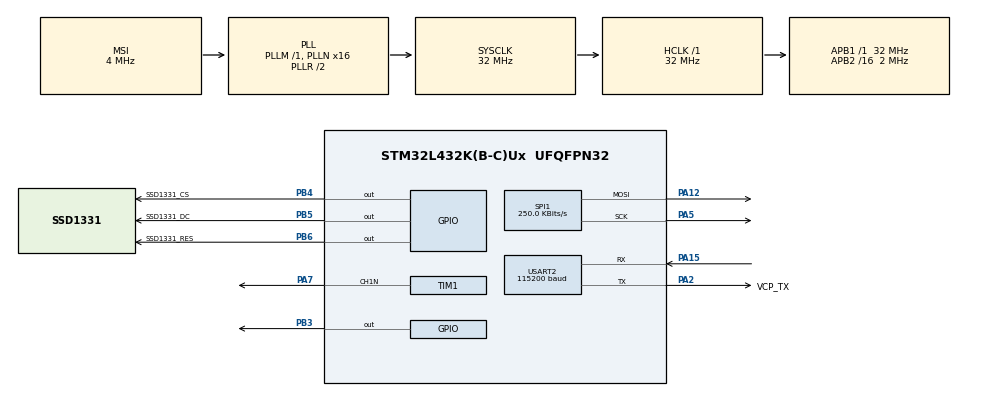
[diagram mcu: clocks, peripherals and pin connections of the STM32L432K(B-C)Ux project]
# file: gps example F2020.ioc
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Mcu.Family=STM32L4
Mcu.Name=STM32L432K(B-C)Ux
Mcu.Package=UFQFPN32
NVIC.PriorityGroup=NVIC_PRIORITYGROUP_4
NVIC.USART2_IRQn=true\:0\:0\:false\:false\:true\:true\:true\:true
PA12.Mode=TX_Only_Simplex_Unidirect_Master
PA12.Signal=SPI1_MOSI
PA15\ (JTDI).Mode=Asynchronous
PA15\ (JTDI).Signal=USART2_RX
PA2.GPIO_Label=VCP_TX
PA2.Mode=Asynchronous
PA2.Signal=USART2_TX
PA5.Mode=TX_Only_Simplex_Unidirect_Master
PA5.Signal=SPI1_SCK
PA7.Mode=PWM Generation1 CH1N
PA7.Signal=TIM1_CH1N
PB3\ (JTDO-TRACESWO).Signal=GPIO_Output
PB4\ (NJTRST).GPIO_Label=SSD1331_CS
PB4\ (NJTRST).Signal=GPIO_Output
PB5.GPIO_Label=SSD1331_DC
PB5.Signal=GPIO_Output
PB6.GPIO_Label=SSD1331_RES
PB6.Signal=GPIO_Output
PC14-OSC32_IN\ (PC14).Mode=LSE-External-Oscillator
PC14-OSC32_IN\ (PC14).Signal=RCC_OSC32_IN
PC15-OSC32_OUT\ (PC15).Mode=LSE-External-Oscillator
PC15-OSC32_OUT\ (PC15).Signal=RCC_OSC32_OUT
ProjectManager.HeapSize=0x200
ProjectManager.StackSize=0x400
ProjectManager.TargetToolchain=STM32CubeIDE
RCC.ADCFreq_Value=32000000
RCC.AHBFreq_Value=32000000
RCC.APB1Freq_Value=32000000
RCC.APB1TimFreq_Value=32000000
RCC.APB2CLKDivider=RCC_HCLK_DIV16
RCC.APB2Freq_Value=2000000
RCC.APB2TimFreq_Value=4000000
RCC.CortexFreq_Value=32000000
RCC.HCLKFreq_Value=32000000
RCC.HSE_VALUE=8000000
RCC.HSI16_VALUE=16000000
RCC.HSI48_VALUE=48000000
RCC.HSI_VALUE=16000000
RCC.MSI_VALUE=4000000
RCC.PLLMUL=RCC_PLLMUL_4
RCC.PLLN=16
RCC.PLLSAI1N=16
RCC.SYSCLKFreq_VALUE=32000000
RCC.SYSCLKSource=RCC_SYSCLKSOURCE_PLLCLK
RCC.USBFreq_Value=32000000
RCC.VCOOutputFreq_Value=64000000
SPI1.BaudRatePrescaler=SPI_BAUDRATEPRESCALER_8
SPI1.CRCCalculation=SPI_CRCCALCULATION_DISABLE
SPI1.CalculateBaudRate=250.0 KBits/s
SPI1.DataSize=SPI_DATASIZE_8BIT
SPI1.Direction=SPI_DIRECTION_2LINES
SPI1.Mode=SPI_MODE_MASTER
SPI1.VirtualType=VM_MASTER
TIM1.Channel-PWM\ Generation1\ CH1N=TIM_CHANNEL_1
TIM1.Period=9090
TIM1.Pulse-PWM\ Generation1\ CH1N=4045
USART2.BaudRate=115200
USART2.DMADisableonRxErrorParam=ADVFEATURE_DMA_ENABLEONRXERROR
USART2.VirtualMode-Asynchronous=VM_ASYNC
USART2.WordLength=WORDLENGTH_8B
board=NUCLEO-L432KC

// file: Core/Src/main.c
/* USER CODE BEGIN Header */
/*******************************************************************************
 * FILE               : main.c
 * PROJECT			  : PROG8126 - #Assignment 5
 * PROGRAMMER		  : Vivek Solanki (8925804)
 * First Version	  : 08/12/2023
 * Description        : This File contains all the required function to full fill the
 * 						requirement of Assignment 5, which should read the GPS data string from serial
 * 						and parse that and converts that into appropriate data type using
 * 						atoi(), atof(), strtoul()
 *
 *	ABOVE AND BEYOND  : (1) To read data from serial i Used UART interrupt instead of timeout
 *						(2) Printed all data on OLED
 *						(3) Enabvled countinuous horizontal scrolling for heading of Assignment.
 *
 *  ******************************************************************************
 */
/* USER CODE END Header */
#include "main.h"

/* USER CODE BEGIN Includes */
#include <stdio.h>
#include <stdlib.h>
#include <string.h>
#include "debounce.h"
#include "ssd1331.h"

/* USER CODE END Includes */

/* USER CODE BEGIN PD */
#define REC_BUFFER_SIZE 						100
#define TEMP_BUFFER_SIZE 						5

/* USER CODE END PD */

SPI_HandleTypeDef hspi1;

TIM_HandleTypeDef htim1;

UART_HandleTypeDef huart2;

/* USER CODE BEGIN PV */
typedef enum
{
	GPS_DATA_UTC_TIME,
	GPS_DATA_LATITUDE,
	GPS_DATA_LATITUDE_DIRECTION,
	GPS_DATA_LONGITUDE,
	GPS_DATA_LONGITUDE_DIRECTION,
	GPS_DATA_POSITION,
	GPS_DATA_SATELITE_NUMBER,
	GPS_DATA_HDOP,
	GPS_DATA_ALTITUDE,
	GPS_DATA_ALTITUDE_UNIT,
	GPS_DATA_GEOID_SEPARATION,
	GPS_DATA_GEOID_SEPARATION_UNIT,
	GPS_DATA_DGPS,
	GPS_DATA_CHECKSUM,
	GPS_DATA_MAX
} gpsData_e;

typedef struct
{
	uint8_t hour;
	uint8_t minute;
	uint8_t second;
	uint8_t second2;
} dateTime_t;

typedef struct
{
	uint8_t 	degree;
	uint8_t		minute;
	uint16_t 	decimalDegree;
	char 		latiTudeDirection;
} latiTude_t;

typedef struct
{
	uint16_t 	degree;
	uint8_t 	minute;
	uint16_t 	decimalDegree;
	char 		longiTudeDirection;
} longiTude_t;

typedef struct
{
	dateTime_t 	utcTime;
	latiTude_t 	latiTude;
	longiTude_t longiTude;
	uint8_t 	position;
	uint8_t 	sateliteNumber;
	float 		hdop;
	float 		altitude;
	char 		altitudeUnit;
	char 		geoidSeparation;
	char 		geoidSeparationUnit;
	uint16_t 	dgps;
	long 		checkSum;
} gpsData_t;

char *info = "Ready to Receive GPS string\r\n"; // Prints this on console at start of the program.

/* recChar will hold a single char received on the serial port*/
char recChar = 0;
/* recBuffer will have characters that are received on the serial
 * port copied into it*/

static char recBuffer[REC_BUFFER_SIZE] = { 0 }; //static so that the previous
//values of recBuffer aren't reset each
//time we get here

/* recBufferIndex is used to keep track of where we are in recBuffer.  */
static int8_t recBufferIndex = 0;		//and again static so we don't reset our
//value each time we get here

static int8_t sentenceReceived = 0;	//flag that indicates a complete sentence has
//been received. static for the same reasons
//above

//enumerated values for use
// with if (pbPressed==value)
//type conditional statements

/* USER CODE END PV */

void SystemClock_Config(void);
static void MX_GPIO_Init(void);
static void MX_TIM1_Init(void);
static void MX_USART2_UART_Init(void);
static void MX_SPI1_Init(void);
/* USER CODE BEGIN PFP */
/*
 * 	This is the callback function that gets called when a receive is complete.
 */
void HAL_UART_RxCpltCallback(UART_HandleTypeDef *huart)
{
	// write some code when reception is complete

	if (recChar == '$')	//STX! so let's start storing char in the recBuffer
	{
		recBufferIndex = 0;			//$ is the first char in a sentence.
		recBuffer[recBufferIndex] = recChar;	//so we've got to store it at the
		                                        //start of our recBuffer
		recBufferIndex++;			//and inc the index so the next char
		                            //is stored in the next position in
		                            //the buffer
	}
	else if (recBufferIndex > 0)		//then we're receiving the rest of the sentence
	{
		recBuffer[recBufferIndex] = recChar;	//so place the rec'd char in the buffer
		if (recBufferIndex < REC_BUFFER_SIZE)		//and increment the index as long as
		{						//we don't exceed the size of the buffer
			recBufferIndex++;
		}
		else
		{
			recBufferIndex = 0;	//if we're we've exceeded the size of our
			printf ("recBuffer Overflow\r\n");	//buffer so let's say so
		}
	}

	if (recChar == '\r' || recChar == '\n')	//if we get a cr then we know we're at the
	{									//end of our sentence
		recBuffer[recBufferIndex] = '\0';		//put a null instead of cr in the buffer
		                                        //'cause that's what strings need
		recBufferIndex = 0;					//and reset the buffer index
		sentenceReceived = 1;	//and set the flag 'cause we've got a
		                        //complete senetence now.
	}

	HAL_UART_Receive_IT (&huart2, (uint8_t*) &recChar, 1); // now call this function to receive next data.
}
/* USER CODE END PFP */

/*******************************************************************************
 * FUNCTION      : startUpLCDSplashScreen()
 * PARAMETERS    : None
 * RETURNS       : None
 * DESCRIPTION   : displays GPS Parcing on line 1 of the display and Disappears
 *
 *******************************************************************************
 */
void startUpLCDSplashScreen(void)
{
	char stringBuffer[16] = { 0 };
	ssd1331_clear_screen (BLACK);
	snprintf (stringBuffer, 16, "GPS Parsing");
	ssd1331_display_string (10, 0, stringBuffer, FONT_1206, GREEN);
	HAL_Delay (10);

	// This function is defined in ssd1331.c
	// It will rotate the heading of Assignmnet (GPS Parsing) countinuous on line 1
	EnableHorizontalCountinuousScroll (0, FONT_1206);
}

/*******************************************************************************
 * FUNCTION      : parseUSTTime()
 * PARAMETERS    : gpsData_t *gpsData, char *iUstTime
 * RETURNS       : None
 * DESCRIPTION   : This function parse UTS Time date from iUstTime and stores that
 * 				   data into main gpsData structure after converting that data into
 * 				   appropriate sata type
 *
 *******************************************************************************
 */
static void parseUSTTime(gpsData_t *gpsData, char *iUstTime)
{
	char tempStr[TEMP_BUFFER_SIZE];

	// Parse hour
	strncpy (tempStr, iUstTime, 2);
	gpsData->utcTime.hour = atoi (tempStr);

	// Parse minute
	strncpy (tempStr, iUstTime + 2, 2);
	gpsData->utcTime.minute = atoi (tempStr);

	// Parse second part 1
	strncpy (tempStr, iUstTime + 4, 2);
	gpsData->utcTime.second = atoi (tempStr);

	// Parse second part 2
	strncpy (tempStr, iUstTime + 7, 2);
	gpsData->utcTime.second2 = atoi (tempStr);
}

/*******************************************************************************
 * FUNCTION      : parseLatitude()
 * PARAMETERS    : gpsData_t *gpsData, char *iLatiTude
 * RETURNS       : None
 * DESCRIPTION   : This function parse latitude data from iLatiTude and stores that
 * 				data into main gpsData structure after converting that data into
 * 				appropriate sata type
 *  *******************************************************************************
 */
static void parseLatitude(gpsData_t *gpsData, char *iLatiTude)
{
	char tempStr[TEMP_BUFFER_SIZE];

	// Parse degrees
	strncpy (tempStr, iLatiTude, 2);
	gpsData->latiTude.degree = atoi (tempStr);

	// Parse minutes
	strncpy (tempStr, iLatiTude + 2, 2);
	gpsData->latiTude.minute = atoi (tempStr);

	// Parse decimal degrees
	strncpy (tempStr, iLatiTude + 5, 4);
	gpsData->latiTude.decimalDegree = atoi (tempStr);

}

/*******************************************************************************
 * FUNCTION      : parseLongitude()
 * PARAMETERS    : gpsData_t *gpsData, char *iLongiTude
 * RETURNS       : None
 * DESCRIPTION   : This function parse longitude data from iLongiTude and stores that
 *				   data into main gpsData structure after converting that data into
 * 				   appropriate sata type
 *
 *******************************************************************************
 */
static void parseLongitude(gpsData_t *gpsData, char *iLongiTude)
{
	char tempStr[TEMP_BUFFER_SIZE];

	// Parse degrees
	strncpy (tempStr, iLongiTude, 3);
	gpsData->longiTude.degree = atoi (tempStr);

	// Parse minutes
	strncpy (tempStr, iLongiTude + 3, 2);
	gpsData->longiTude.minute = atoi (tempStr);

	// Parse decimal degrees
	strncpy (tempStr, iLongiTude + 6, 4);
	gpsData->longiTude.decimalDegree = atoi (tempStr);
}

/*******************************************************************************
 * FUNCTION      : printDataOnOLED()
 * PARAMETERS    : gpsData_t gpsData
 * RETURNS       : None
 * DESCRIPTION   : This function prints data on OLED stored in gpsData
 *
 *******************************************************************************
 */
void printDataOnOLED(gpsData_t gpsData)
{
	uint8_t index = 1;
	char stringBuffer[25] = { 0 };

	//Display UTC time on OLED
	snprintf (stringBuffer, sizeof(stringBuffer), "UTC Hour = %d", gpsData.utcTime.hour);
	ssd1331_display_string (0, index + index * FONT_1206, stringBuffer, FONT_1206, WHITE);
	index++;
	snprintf (stringBuffer, sizeof(stringBuffer), "UTC Min. = %d",
	          gpsData.utcTime.minute);
	ssd1331_display_string (0, index + index * FONT_1206, stringBuffer, FONT_1206, WHITE);
	index++;
	snprintf (stringBuffer, sizeof(stringBuffer), "UTC Second = %d",
	          gpsData.utcTime.second);
	ssd1331_display_string (0, index + index * FONT_1206, stringBuffer, FONT_1206, WHITE);
	index++;
	snprintf (stringBuffer, sizeof(stringBuffer), "UTC mSec = %d",
	          gpsData.utcTime.second2);
	ssd1331_display_string (0, index + index * FONT_1206, stringBuffer, FONT_1206, WHITE);

	// Clear OLED
	ssd1331_clear_screen (BLACK);
	startUpLCDSplashScreen ();
	index = 1;

	//Display Latitude data on OLED
	snprintf (stringBuffer, sizeof(stringBuffer), "lat. deg. = %d",
	          gpsData.latiTude.degree);
	ssd1331_display_string (0, index + index * FONT_1206, stringBuffer, FONT_1206, WHITE);
	index++;
	snprintf (stringBuffer, sizeof(stringBuffer), "lat. Min. = %d",
	          gpsData.latiTude.minute);
	ssd1331_display_string (0, index + index * FONT_1206, stringBuffer, FONT_1206, WHITE);
	index++;
	snprintf (stringBuffer, sizeof(stringBuffer), "lat. Dd = %d",
	          gpsData.latiTude.decimalDegree);
	ssd1331_display_string (0, index + index * FONT_1206, stringBuffer, FONT_1206, WHITE);
	index++;
	snprintf (stringBuffer, sizeof(stringBuffer), "lat. Dire. = %c",
	          gpsData.latiTude.latiTudeDirection);
	ssd1331_display_string (0, index + index * FONT_1206, stringBuffer, FONT_1206, WHITE);

	// Clear OLED
	ssd1331_clear_screen (BLACK);
	startUpLCDSplashScreen ();
	index = 1;

	//Display Longitude data on OLED
	snprintf (stringBuffer, sizeof(stringBuffer), "long. deg. = %d",
	          gpsData.longiTude.degree);
	ssd1331_display_string (0, index + index * FONT_1206, stringBuffer, FONT_1206, WHITE);
	index++;
	snprintf (stringBuffer, sizeof(stringBuffer), "long. Min. = %d",
	          gpsData.longiTude.minute);
	ssd1331_display_string (0, index + index * FONT_1206, stringBuffer, FONT_1206, WHITE);
	index++;
	snprintf (stringBuffer, sizeof(stringBuffer), "long. Dd = %d",
	          gpsData.longiTude.decimalDegree);
	ssd1331_display_string (0, index + index * FONT_1206, stringBuffer, FONT_1206, WHITE);
	index++;
	snprintf (stringBuffer, sizeof(stringBuffer), "long. Dire. = %c",
	          gpsData.longiTude.longiTudeDirection);
	ssd1331_display_string (0, index + index * FONT_1206, stringBuffer, FONT_1206, WHITE);

	// Clear OLED
	ssd1331_clear_screen (BLACK);
	startUpLCDSplashScreen ();
	index = 1;

	//Display Position of Satelite
	snprintf (stringBuffer, sizeof(stringBuffer), "Positoin = %d", gpsData.position);
	ssd1331_display_string (0, index + index * FONT_1206, stringBuffer, FONT_1206, WHITE);
	index++;

	//Display Satelite Number
	snprintf (stringBuffer, sizeof(stringBuffer), "Sat. Num. = %d",
	          gpsData.sateliteNumber);
	ssd1331_display_string (0, index + index * FONT_1206, stringBuffer, FONT_1206, WHITE);
	index++;

	//Display HDOP
	snprintf (stringBuffer, sizeof(stringBuffer), "HDOP = %0.3f", gpsData.hdop);
	ssd1331_display_string (0, index + index * FONT_1206, stringBuffer, FONT_1206, WHITE);
	index++;

	//Display Altitude
	snprintf (stringBuffer, sizeof(stringBuffer), "Alt. = %0.3f", gpsData.altitude);
	ssd1331_display_string (0, index + index * FONT_1206, stringBuffer, FONT_1206, WHITE);
	index++;

	// Clear OLED
	ssd1331_clear_screen (BLACK);
	startUpLCDSplashScreen ();
	index = 1;

	//Display Altitude unit
	snprintf (stringBuffer, sizeof(stringBuffer), "Alt. Unit = %c", gpsData.altitudeUnit);
	ssd1331_display_string (0, index + index * FONT_1206, stringBuffer, FONT_1206, WHITE);
	index++;

	//Display Geopid Separation
	snprintf (stringBuffer, sizeof(stringBuffer), "Geoid Sep. = %c",
	          gpsData.geoidSeparation);
	ssd1331_display_string (0, index + index * FONT_1206, stringBuffer, FONT_1206, WHITE);
	index++;

	//Display Geopid Separation unit
	snprintf (stringBuffer, sizeof(stringBuffer), "G.Sep.Unit.= %c",
	          gpsData.geoidSeparationUnit);
	ssd1331_display_string (0, index + index * FONT_1206, stringBuffer, FONT_1206, WHITE);
	index++;

	// Clear OLED
	ssd1331_clear_screen (BLACK);
	startUpLCDSplashScreen ();
	index = 1;

	//Display DGPS Age
	snprintf (stringBuffer, sizeof(stringBuffer), "DGPS = %d", gpsData.dgps);
	ssd1331_display_string (0, index + index * FONT_1206, stringBuffer, FONT_1206, WHITE);
	index++;

	snprintf (stringBuffer, sizeof(stringBuffer), "Checksum = %ld", gpsData.checkSum);
	ssd1331_display_string (0, index + index * FONT_1206, stringBuffer, FONT_1206, WHITE);
	index++;
}

/* USER CODE END 0 */

int main(void)
{

	/* MCU Configuration--------------------------------------------------------*/

	/* Reset of all peripherals, Initializes the Flash interface and the Systick. */
	HAL_Init ();

	/* Configure the system clock */
	SystemClock_Config ();

	/* Initialize all configured peripherals */
	MX_GPIO_Init ();
	MX_TIM1_Init ();
	MX_USART2_UART_Init ();
	MX_SPI1_Init ();
	/* USER CODE BEGIN 2 */
	HAL_UART_Transmit_IT (&huart2, (uint8_t*) info, strlen (info)); //Transmit data in interrupt mode
	HAL_UART_Receive_IT (&huart2, (uint8_t*) &recChar, 1); //receive data from data buffer interrupt mode
	printf ("Ready to Receive GPS string\r\n");
	ssd1331_init ();
	startUpLCDSplashScreen ();

	/* USER CODE END 2 */

	/* Infinite loop */
	/* USER CODE BEGIN WHILE */
	while (1)
	{
		gpsData_t gpsData;

		if (sentenceReceived)
		{
			/* your code goes here to parse the string inside recBuffer */
			printf ("recBuffer: %s\r\n", recBuffer);
			char *tokPtr = NULL;

			// Take First Data from input string
			tokPtr = strtok (recBuffer, ",");

			printf ("Identification String : %s\r\n", tokPtr);
			for (gpsData_e gpsDataIdx = GPS_DATA_UTC_TIME; gpsDataIdx < GPS_DATA_MAX;
			                gpsDataIdx++)
			{
				tokPtr = strtok (NULL, ",");

				switch (gpsDataIdx)
				{
					case GPS_DATA_UTC_TIME:
					{
						parseUSTTime (&gpsData, tokPtr);
						break;
					}

					case GPS_DATA_LATITUDE:
					{
						parseLatitude (&gpsData, tokPtr);
						break;
					}

					case GPS_DATA_LATITUDE_DIRECTION:
					{
						strncpy (&gpsData.latiTude.latiTudeDirection, tokPtr,
						         sizeof(gpsData.latiTude.latiTudeDirection));
						break;
					}

					case GPS_DATA_LONGITUDE:
					{
						parseLongitude (&gpsData, tokPtr);
						break;
					}

					case GPS_DATA_LONGITUDE_DIRECTION:
					{
						strncpy (&gpsData.longiTude.longiTudeDirection, tokPtr,
						         sizeof(gpsData.longiTude.longiTudeDirection));

						break;
					}

					case GPS_DATA_POSITION:
					{
						gpsData.position = atoi (tokPtr);
						break;
					}

					case GPS_DATA_SATELITE_NUMBER:
					{
						gpsData.sateliteNumber = atoi (tokPtr);
						break;
					}

					case GPS_DATA_HDOP:
					{
						gpsData.hdop = atof (tokPtr);
						break;
					}

					case GPS_DATA_ALTITUDE:
					{
						gpsData.altitude = atof (tokPtr);
						break;
					}

					case GPS_DATA_ALTITUDE_UNIT:
					{
						strncpy (&gpsData.altitudeUnit, tokPtr,
						         sizeof(gpsData.altitudeUnit));
						break;
					}

					case GPS_DATA_GEOID_SEPARATION:
					{
						strncpy (&gpsData.geoidSeparation, tokPtr,
						         sizeof(gpsData.geoidSeparation));
						break;
					}

					case GPS_DATA_GEOID_SEPARATION_UNIT:
					{
						strncpy (&gpsData.geoidSeparationUnit, tokPtr,
						         sizeof(gpsData.geoidSeparationUnit));
						break;
					}

					case GPS_DATA_DGPS:
					{
						gpsData.dgps = atoi (tokPtr);
						break;
					}

					case GPS_DATA_CHECKSUM:
					{
						gpsData.checkSum = strtoul (tokPtr + 1, NULL, 16);
						break;
					}

					default:
					{
						break;
					}
				}
			}

			printf ("UTC Time -> Hour = %d\r\n", gpsData.utcTime.hour);
			printf ("UTC Time -> Minute = %d\r\n", gpsData.utcTime.minute);
			printf ("UTC Time -> Second = %d\r\n", gpsData.utcTime.second);
			printf ("UTC Time -> Milisecond = %d\r\n", gpsData.utcTime.second2);
			printf ("Latitude -> Degree = %d\r\n", gpsData.latiTude.degree);
			printf ("Latitude -> Minute = %d\r\n", gpsData.latiTude.minute);
			printf ("Latitude -> DecimalDegree = %d\r\n", gpsData.latiTude.decimalDegree);
			printf ("Latitude -> Direction = %c\r\n", gpsData.latiTude.latiTudeDirection);
			printf ("Longitude -> Degree = %d\r\n", gpsData.longiTude.degree);
			printf ("Longitude -> Minute = %d\r\n", gpsData.longiTude.minute);
			printf ("Longitude -> DecimalDegree = %d\r\n",
			        gpsData.longiTude.decimalDegree);
			printf ("Longitude -> Direction = %c\r\n",
			        gpsData.longiTude.longiTudeDirection);
			printf ("Position = %d\r\n", gpsData.position);
			printf ("Satelitinumber = %d\r\n", gpsData.sateliteNumber);
			printf ("HDOP = %.3f\r\n", gpsData.hdop);
			printf ("Altitude = %.3f\r\n", gpsData.altitude);
			printf ("AltitudeUnit = %c\r\n", gpsData.altitudeUnit);
			printf ("GeoidSeparation = %c\r\n", gpsData.geoidSeparation);
			printf ("GeoidSeparationUnit = %c\r\n", gpsData.geoidSeparationUnit);
			printf ("DGPS = %d\r\n", gpsData.dgps);
			printf ("CheckSum: %ld\r\n", gpsData.checkSum);

			printDataOnOLED (gpsData);
			ssd1331_clear_screen (BLACK);
			startUpLCDSplashScreen ();

			sentenceReceived = 0;	//as we've finished processing the sentence
		}
		/* USER CODE END WHILE */

	}
}

void SystemClock_Config(void)
{
	RCC_OscInitTypeDef RCC_OscInitStruct = { 0 };
	RCC_ClkInitTypeDef RCC_ClkInitStruct = { 0 };

	/** Configure the main internal regulator output voltage
	 */
	if (HAL_PWREx_ControlVoltageScaling (PWR_REGULATOR_VOLTAGE_SCALE1) != HAL_OK)
	{
		Error_Handler ();
	}

	/** Configure LSE Drive Capability
	 */
	HAL_PWR_EnableBkUpAccess ();
	__HAL_RCC_LSEDRIVE_CONFIG(RCC_LSEDRIVE_LOW);

	/** Initializes the RCC Oscillators according to the specified parameters
	 * in the RCC_OscInitTypeDef structure.
	 */
	RCC_OscInitStruct.OscillatorType = RCC_OSCILLATORTYPE_LSE | RCC_OSCILLATORTYPE_MSI;
	RCC_OscInitStruct.LSEState = RCC_LSE_ON;
	RCC_OscInitStruct.MSIState = RCC_MSI_ON;
	RCC_OscInitStruct.MSICalibrationValue = 0;
	RCC_OscInitStruct.MSIClockRange = RCC_MSIRANGE_6;
	RCC_OscInitStruct.PLL.PLLState = RCC_PLL_ON;
	RCC_OscInitStruct.PLL.PLLSource = RCC_PLLSOURCE_MSI;
	RCC_OscInitStruct.PLL.PLLM = 1;
	RCC_OscInitStruct.PLL.PLLN = 16;
	RCC_OscInitStruct.PLL.PLLP = RCC_PLLP_DIV7;
	RCC_OscInitStruct.PLL.PLLQ = RCC_PLLQ_DIV2;
	RCC_OscInitStruct.PLL.PLLR = RCC_PLLR_DIV2;
	if (HAL_RCC_OscConfig (&RCC_OscInitStruct) != HAL_OK)
	{
		Error_Handler ();
	}

	/** Initializes the CPU, AHB and APB buses clocks
	 */
	RCC_ClkInitStruct.ClockType = RCC_CLOCKTYPE_HCLK | RCC_CLOCKTYPE_SYSCLK
	                | RCC_CLOCKTYPE_PCLK1 | RCC_CLOCKTYPE_PCLK2;
	RCC_ClkInitStruct.SYSCLKSource = RCC_SYSCLKSOURCE_PLLCLK;
	RCC_ClkInitStruct.AHBCLKDivider = RCC_SYSCLK_DIV1;
	RCC_ClkInitStruct.APB1CLKDivider = RCC_HCLK_DIV1;
	RCC_ClkInitStruct.APB2CLKDivider = RCC_HCLK_DIV16;

	if (HAL_RCC_ClockConfig (&RCC_ClkInitStruct, FLASH_LATENCY_1) != HAL_OK)
	{
		Error_Handler ();
	}

	/** Enable MSI Auto calibration
	 */
	HAL_RCCEx_EnableMSIPLLMode ();
}

static void MX_SPI1_Init(void)
{

	/* SPI1 parameter configuration*/
	hspi1.Instance = SPI1;
	hspi1.Init.Mode = SPI_MODE_MASTER;
	hspi1.Init.Direction = SPI_DIRECTION_2LINES;
	hspi1.Init.DataSize = SPI_DATASIZE_8BIT;
	hspi1.Init.CLKPolarity = SPI_POLARITY_LOW;
	hspi1.Init.CLKPhase = SPI_PHASE_1EDGE;
	hspi1.Init.NSS = SPI_NSS_SOFT;
	hspi1.Init.BaudRatePrescaler = SPI_BAUDRATEPRESCALER_8;
	hspi1.Init.FirstBit = SPI_FIRSTBIT_MSB;
	hspi1.Init.TIMode = SPI_TIMODE_DISABLE;
	hspi1.Init.CRCCalculation = SPI_CRCCALCULATION_DISABLE;
	hspi1.Init.CRCPolynomial = 7;
	hspi1.Init.CRCLength = SPI_CRC_LENGTH_DATASIZE;
	hspi1.Init.NSSPMode = SPI_NSS_PULSE_ENABLE;
	if (HAL_SPI_Init (&hspi1) != HAL_OK)
	{
		Error_Handler ();
	}

}

static void MX_TIM1_Init(void)
{

	TIM_MasterConfigTypeDef sMasterConfig = { 0 };
	TIM_OC_InitTypeDef sConfigOC = { 0 };
	TIM_BreakDeadTimeConfigTypeDef sBreakDeadTimeConfig = { 0 };

	htim1.Instance = TIM1;
	htim1.Init.Prescaler = 0;
	htim1.Init.CounterMode = TIM_COUNTERMODE_UP;
	htim1.Init.Period = 9090;
	htim1.Init.ClockDivision = TIM_CLOCKDIVISION_DIV1;
	htim1.Init.RepetitionCounter = 0;
	htim1.Init.AutoReloadPreload = TIM_AUTORELOAD_PRELOAD_DISABLE;
	if (HAL_TIM_PWM_Init (&htim1) != HAL_OK)
	{
		Error_Handler ();
	}
	sMasterConfig.MasterOutputTrigger = TIM_TRGO_RESET;
	sMasterConfig.MasterOutputTrigger2 = TIM_TRGO2_RESET;
	sMasterConfig.MasterSlaveMode = TIM_MASTERSLAVEMODE_DISABLE;
	if (HAL_TIMEx_MasterConfigSynchronization (&htim1, &sMasterConfig) != HAL_OK)
	{
		Error_Handler ();
	}
	sConfigOC.OCMode = TIM_OCMODE_PWM1;
	sConfigOC.Pulse = 4045;
	sConfigOC.OCPolarity = TIM_OCPOLARITY_HIGH;
	sConfigOC.OCNPolarity = TIM_OCNPOLARITY_HIGH;
	sConfigOC.OCFastMode = TIM_OCFAST_DISABLE;
	sConfigOC.OCIdleState = TIM_OCIDLESTATE_RESET;
	sConfigOC.OCNIdleState = TIM_OCNIDLESTATE_RESET;
	if (HAL_TIM_PWM_ConfigChannel (&htim1, &sConfigOC, TIM_CHANNEL_1) != HAL_OK)
	{
		Error_Handler ();
	}
	sBreakDeadTimeConfig.OffStateRunMode = TIM_OSSR_DISABLE;
	sBreakDeadTimeConfig.OffStateIDLEMode = TIM_OSSI_DISABLE;
	sBreakDeadTimeConfig.LockLevel = TIM_LOCKLEVEL_OFF;
	sBreakDeadTimeConfig.DeadTime = 0;
	sBreakDeadTimeConfig.BreakState = TIM_BREAK_DISABLE;
	sBreakDeadTimeConfig.BreakPolarity = TIM_BREAKPOLARITY_HIGH;
	sBreakDeadTimeConfig.BreakFilter = 0;
	sBreakDeadTimeConfig.Break2State = TIM_BREAK2_DISABLE;
	sBreakDeadTimeConfig.Break2Polarity = TIM_BREAK2POLARITY_HIGH;
	sBreakDeadTimeConfig.Break2Filter = 0;
	sBreakDeadTimeConfig.AutomaticOutput = TIM_AUTOMATICOUTPUT_DISABLE;
	if (HAL_TIMEx_ConfigBreakDeadTime (&htim1, &sBreakDeadTimeConfig) != HAL_OK)
	{
		Error_Handler ();
	}
	HAL_TIM_MspPostInit (&htim1);

}

static void MX_USART2_UART_Init(void)
{

	huart2.Instance = USART2;
	huart2.Init.BaudRate = 115200;
	huart2.Init.WordLength = UART_WORDLENGTH_8B;
	huart2.Init.StopBits = UART_STOPBITS_1;
	huart2.Init.Parity = UART_PARITY_NONE;
	huart2.Init.Mode = UART_MODE_TX_RX;
	huart2.Init.HwFlowCtl = UART_HWCONTROL_NONE;
	huart2.Init.OverSampling = UART_OVERSAMPLING_16;
	huart2.Init.OneBitSampling = UART_ONE_BIT_SAMPLE_DISABLE;
	huart2.AdvancedInit.AdvFeatureInit = UART_ADVFEATURE_NO_INIT;
	if (HAL_UART_Init (&huart2) != HAL_OK)
	{
		Error_Handler ();
	}

}

static void MX_GPIO_Init(void)
{
	GPIO_InitTypeDef GPIO_InitStruct = { 0 };

	/* GPIO Ports Clock Enable */
	__HAL_RCC_GPIOC_CLK_ENABLE();
	__HAL_RCC_GPIOA_CLK_ENABLE();
	__HAL_RCC_GPIOB_CLK_ENABLE();

	/*Configure GPIO pin Output Level */
	HAL_GPIO_WritePin (GPIOB,
	GPIO_PIN_3 | SSD1331_CS_Pin | SSD1331_DC_Pin | SSD1331_RES_Pin,
	                   GPIO_PIN_RESET);

	/*Configure GPIO pins : PB3 SSD1331_CS_Pin SSD1331_DC_Pin SSD1331_RES_Pin */
	GPIO_InitStruct.Pin = GPIO_PIN_3 | SSD1331_CS_Pin | SSD1331_DC_Pin | SSD1331_RES_Pin;
	GPIO_InitStruct.Mode = GPIO_MODE_OUTPUT_PP;
	GPIO_InitStruct.Pull = GPIO_NOPULL;
	GPIO_InitStruct.Speed = GPIO_SPEED_FREQ_LOW;
	HAL_GPIO_Init (GPIOB, &GPIO_InitStruct);

}

void Error_Handler(void)
{
}
